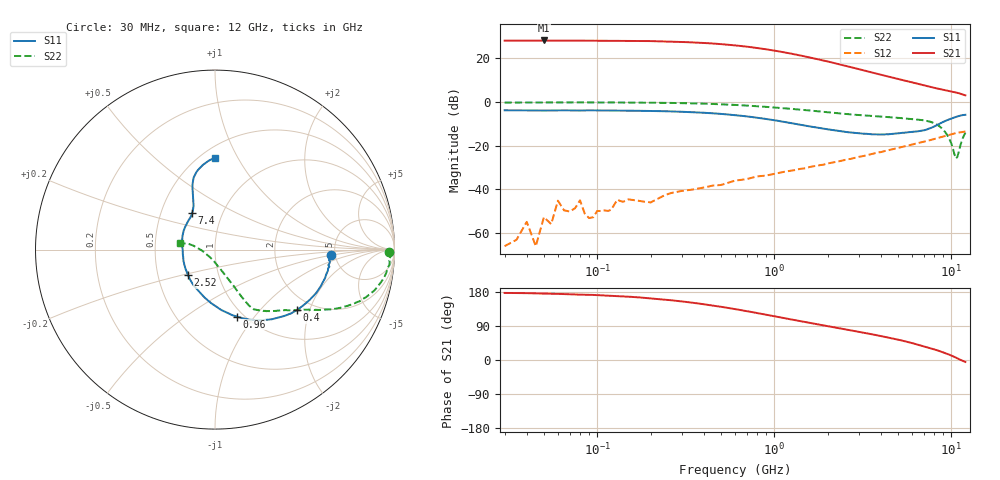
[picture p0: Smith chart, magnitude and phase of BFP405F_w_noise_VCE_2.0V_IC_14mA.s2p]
! Infineon Technologies  Discrete & RF Semiconductors
! BFP405F
! VCE =  2.0 V,  IC =  14 mA
! Common Emitter S-Parameters:  Nov 2015
# GHz  S  MA  R  50
!  f  S11  S21  S12  S22
! GHz  MAG  ANG  MAG  ANG  MAG  ANG  MAG  ANG
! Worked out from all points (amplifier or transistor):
!   239 points, 30 MHz to 12 GHz, reference 50 ohm
!   highest |S21| = 28.2 dB at 50 MHz (marker M1)
!   |S21| within 3 dB of that: start of sweep to 726.7 MHz
!   unconditionally stable (mu >= 1): start of sweep to 35.72 MHz; 1.881 GHz to end of sweep
!   at 300 MHz: K = 0.20, MSG = 34.1 dB, |S12| = -40.7 dB
!   at 1.88 GHz: K = 1.00, MSG = 23.9 dB, |S12| = -28.7 dB
!   at 12 GHz: K = 1.39, MAG = 4.6 dB, |S12| = -13.5 dB
!   lowest NFmin = 1.91 dB at 450 MHz
!   S11 on the Smith chart (normalised r, x): 30 MHz: 4.58, -0.49; 400 MHz: 1.66, -1.65; 960 MHz: 0.93, -0.82; 2.52 GHz: 0.71, -0.21; 7.4 GHz: 0.72, +0.31; 12 GHz: 0.59, +0.81
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0.03  0.6451 -2.8  25.41 177.0  0.0005 -102.4  0.9713 -0.7
0.04  0.6433 -3.9  25.47 176.4  0.0018 63.1  0.9769 -0.9
0.045  0.6402 -4.5  25.56 175.7  0.0005 172.9  0.976 -1.1
0.05  0.6371 -5.2  25.65 175.1  0.0023 -139.7  0.9751 -1.4
0.055  0.6403 -5.5  25.55 174.8  0.0016 31.4  0.9764 -1.8
0.06  0.6436 -5.7  25.44 174.5  0.0055 35.1  0.9778 -2.1
0.085  0.6408 -8.2  25.33 172.3  0.0028 71.7  0.9769 -2.9
0.145  0.6337 -13.9  25.13 167.7  0.0055 96.3  0.9726 -5.4
0.24  0.6148 -22.6  24.33 159.4  0.0073 79.4  0.9569 -9.0
0.3  0.5977 -27.8  23.74 154.6  0.0092 83.5  0.9426 -11.1
0.4  0.5676 -36.3  22.51 147.1  0.011 75.4  0.9173 -14.3
0.6  0.5003 -50.9  19.79 134.2  0.0158 72.0  0.8574 -19.5
0.7  0.4686 -57.3  18.52 128.8  0.0172 71.7  0.828 -21.4
0.96  0.3927 -72.1  15.44 117.0  0.022 70.7  0.7584 -25.5
1.3  0.3177 -88.8  12.37 105.3  0.0275 68.5  0.6857 -29.3
1.64  0.2697 -103.3  10.16 96.7  0.0334 68.8  0.6303 -32.2
2.52  0.2073 -136.8  6.752 80.7  0.0474 66.0  0.5331 -39.3
4.5  0.184 172.0  3.736 58.5  0.0803 60.6  0.4495 -49.6
7.4  0.2416 121.7  2.275 32.7  0.1306 48.7  0.3632 -58.8
9.2  0.3651 110.1  1.871 18.4  0.1658 39.7  0.2075 -63.9
10.6  0.4541 102.0  1.655 6.4  0.1936 30.8  0.051 -121.8
12  0.509 90.0  1.418 -5.1  0.2109 22.8  0.1993 169.2
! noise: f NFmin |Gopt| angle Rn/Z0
0.45  1.91  0.12  3  0.31
0.9  1.94  0.11  6  0.31
1.5  1.98  0.1  10  0.2
1.9  2.03  0.08  15  0.24
2.4  2.17  0.06  22  0.38
3  2.25  0.04  27  0.41
3.5  2.31  0.02  23  0.49
4.5  2.5  0.07  -88  0.15
5.5  2.76  0.15  -87  0.08
